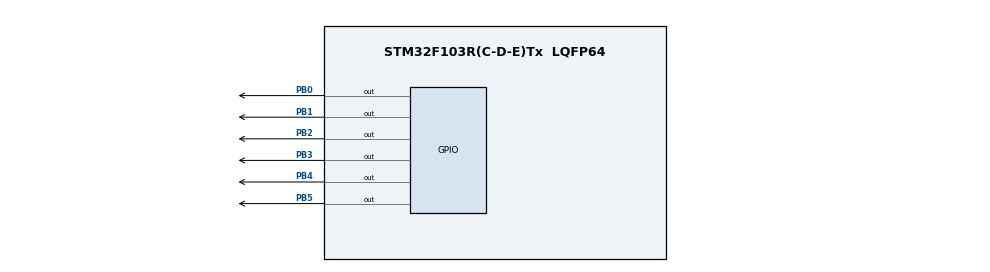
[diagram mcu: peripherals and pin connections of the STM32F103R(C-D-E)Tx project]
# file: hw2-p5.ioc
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Mcu.Family=STM32F1
Mcu.Name=STM32F103R(C-D-E)Tx
Mcu.Package=LQFP64
NVIC.PriorityGroup=NVIC_PRIORITYGROUP_4
PA13.Mode=Serial_Wire
PA13.Signal=SYS_JTMS-SWDIO
PA14.Mode=Serial_Wire
PA14.Signal=SYS_JTCK-SWCLK
PB0.Signal=GPIO_Output
PB1.Signal=GPIO_Output
PB2.Signal=GPIO_Output
PB3.Signal=GPIO_Output
PB4.Signal=GPIO_Output
PB5.Signal=GPIO_Output
PD0-OSC_IN.Mode=HSE-External-Oscillator
PD0-OSC_IN.Signal=RCC_OSC_IN
PD1-OSC_OUT.Mode=HSE-External-Oscillator
PD1-OSC_OUT.Signal=RCC_OSC_OUT
ProjectManager.HeapSize=0x200
ProjectManager.StackSize=0x400
ProjectManager.TargetToolchain=MDK-ARM V5.32
RCC.APB1Freq_Value=8000000
RCC.APB2Freq_Value=8000000
board=custom

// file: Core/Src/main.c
/* USER CODE BEGIN Header */
/**
  ******************************************************************************
  * @file           : main.c
  * @brief          : Main program body
  ******************************************************************************
  * @attention
  *
  * Copyright (c) 2026 STMicroelectronics.
  * All rights reserved.
  *
  * This software is licensed under terms that can be found in the LICENSE file
  * in the root directory of this software component.
  * If no LICENSE file comes with this software, it is provided AS-IS.
  *
  ******************************************************************************
  */
/* USER CODE END Header */
#include "main.h"

/* USER CODE BEGIN Includes */
#include "lcd.h"
#include <string.h>
/* USER CODE END Includes */

/* USER CODE BEGIN PD */
#define RS_PIN GPIO_PIN_0
#define RS_PORT GPIOB

#define ENB_PIN GPIO_PIN_1
#define ENB_PORT GPIOB

#define LCD_PORTS {GPIOB,GPIOB,GPIOB,GPIOB}
#define LCD_PINS {GPIO_PIN_2,GPIO_PIN_3,GPIO_PIN_4,GPIO_PIN_5}
/* USER CODE END PD */

void SystemClock_Config(void);
static void MX_GPIO_Init(void);

int main(void)
{

  /* MCU Configuration--------------------------------------------------------*/

  /* Reset of all peripherals, Initializes the Flash interface and the Systick. */
  HAL_Init();

  /* Configure the system clock */
  SystemClock_Config();

  /* Initialize all configured peripherals */
  MX_GPIO_Init();
  /* USER CODE BEGIN 2 */
	Lcd_PortType Ports[] = LCD_PORTS;
	Lcd_PinType Pins[]= LCD_PINS;

	Lcd_HandleTypeDef lcd;
	lcd = Lcd_create(Ports, Pins, RS_PORT, RS_PIN, ENB_PORT, ENB_PIN, LCD_4_BIT_MODE);
	char *Name = "Reza Nadimi";
	int len = strlen(Name);
	int gap = 3;                          // shortest gap that avoids overlap
	int unit_len = gap + len + gap;       // 3 + 11 + 3 = 17
	char unit[17 + 1];

	for (int i = 0; i < gap; i++)
			unit[i] = ' ';

	for (int i = 0; i < len; i++)
			unit[gap + i] = Name[i];

	for (int i = 0; i < gap; i++)
			unit[gap + len + i] = ' ';
	unit[unit_len] = '\0';

	int offset = 0;
	char row[17];
	/* USER CODE END 2 */

  /* Infinite loop */
  while (1)
  {

    /* USER CODE BEGIN 3 */
	for (int col = 0; col < 16; col++)
    {
        int idx = (col + offset) % unit_len;
        row[col] = unit[idx];
    }
    row[16] = '\0';

    Lcd_cursor(&lcd, 0, 0);
    Lcd_string(&lcd, row);

    offset = (offset + 1) % unit_len;
    HAL_Delay(150);
	}
  /* USER CODE END 3 */
}

void SystemClock_Config(void)
{
  RCC_OscInitTypeDef RCC_OscInitStruct = {0};
  RCC_ClkInitTypeDef RCC_ClkInitStruct = {0};

  /** Initializes the RCC Oscillators according to the specified parameters
  * in the RCC_OscInitTypeDef structure.
  */
  RCC_OscInitStruct.OscillatorType = RCC_OSCILLATORTYPE_HSI;
  RCC_OscInitStruct.HSIState = RCC_HSI_ON;
  RCC_OscInitStruct.HSICalibrationValue = RCC_HSICALIBRATION_DEFAULT;
  RCC_OscInitStruct.PLL.PLLState = RCC_PLL_NONE;
  if (HAL_RCC_OscConfig(&RCC_OscInitStruct) != HAL_OK)
  {
    Error_Handler();
  }

  /** Initializes the CPU, AHB and APB buses clocks
  */
  RCC_ClkInitStruct.ClockType = RCC_CLOCKTYPE_HCLK|RCC_CLOCKTYPE_SYSCLK
                              |RCC_CLOCKTYPE_PCLK1|RCC_CLOCKTYPE_PCLK2;
  RCC_ClkInitStruct.SYSCLKSource = RCC_SYSCLKSOURCE_HSI;
  RCC_ClkInitStruct.AHBCLKDivider = RCC_SYSCLK_DIV1;
  RCC_ClkInitStruct.APB1CLKDivider = RCC_HCLK_DIV1;
  RCC_ClkInitStruct.APB2CLKDivider = RCC_HCLK_DIV1;

  if (HAL_RCC_ClockConfig(&RCC_ClkInitStruct, FLASH_LATENCY_0) != HAL_OK)
  {
    Error_Handler();
  }
}

static void MX_GPIO_Init(void)
{
  GPIO_InitTypeDef GPIO_InitStruct = {0};

  /* GPIO Ports Clock Enable */
  __HAL_RCC_GPIOD_CLK_ENABLE();
  __HAL_RCC_GPIOB_CLK_ENABLE();
  __HAL_RCC_GPIOA_CLK_ENABLE();

  /*Configure GPIO pin Output Level */
  HAL_GPIO_WritePin(GPIOB, GPIO_PIN_0|GPIO_PIN_1|GPIO_PIN_2|GPIO_PIN_3
                          |GPIO_PIN_4|GPIO_PIN_5, GPIO_PIN_RESET);

  /*Configure GPIO pins : PB0 PB1 PB2 PB3
                           PB4 PB5 */
  GPIO_InitStruct.Pin = GPIO_PIN_0|GPIO_PIN_1|GPIO_PIN_2|GPIO_PIN_3
                          |GPIO_PIN_4|GPIO_PIN_5;
  GPIO_InitStruct.Mode = GPIO_MODE_OUTPUT_PP;
  GPIO_InitStruct.Pull = GPIO_NOPULL;
  GPIO_InitStruct.Speed = GPIO_SPEED_FREQ_LOW;
  HAL_GPIO_Init(GPIOB, &GPIO_InitStruct);

}

void Error_Handler(void)
{
  __disable_irq();
  while (1)
  {
  }
}
